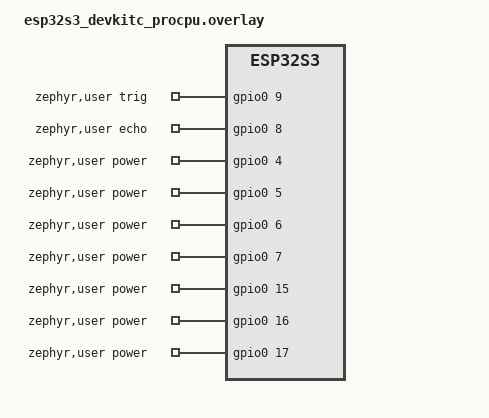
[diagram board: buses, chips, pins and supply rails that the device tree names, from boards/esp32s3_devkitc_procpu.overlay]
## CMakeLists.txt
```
# SPDX-License-Identifier: Apache-2.0

cmake_minimum_required(VERSION 3.20.0)

# Workaround: ESP32-Zephyr-Test wird als Zephyr-Modul erkannt.
# ZEPHYR_MODULES explizit setzen, Projektpfad herausfiltern.
get_filename_component(_project_root "${CMAKE_CURRENT_SOURCE_DIR}/.." ABSOLUTE)
execute_process(
  COMMAND west list -f "{abspath}"
  WORKING_DIRECTORY "${_project_root}"
  OUTPUT_VARIABLE _all_modules
  OUTPUT_STRIP_TRAILING_WHITESPACE
  ERROR_QUIET
)
string(REPLACE "\n" ";" _modules_list "${_all_modules}")
list(REMOVE_ITEM _modules_list "${_project_root}")
set(ZEPHYR_MODULES ${_modules_list} CACHE STRING "Zephyr module paths" FORCE)

find_package(Zephyr REQUIRED HINTS $ENV{ZEPHYR_BASE})
project(bthome_ranging)

# BThome V2 Bibliothek (aus workspace-root/lib/)
add_subdirectory(
  ${CMAKE_CURRENT_SOURCE_DIR}/../lib/bthome_v2
  ${CMAKE_CURRENT_BINARY_DIR}/bthome_v2
)

target_link_libraries(app PRIVATE bthome_v2)
target_sources(app PRIVATE src/main.c)
```

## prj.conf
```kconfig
# SPDX-License-Identifier: Apache-2.0
#
# 200-BThome-Ranging: HC-SR04 + BThome V2 BLE Advertising auf ESP32-S3

# ── Logging ────────────────────────────────────────────────────────────────
CONFIG_LOG=y

# ── GPIO ───────────────────────────────────────────────────────────────────
CONFIG_GPIO=y

# ── Power (sleep_cpu.c / sleep_modem.c fuer esp_deep_sleep_start) ──────────
# CONFIG_POWEROFF zieht die noetigen HAL-Quellen ein, ohne den PM-Idle-Hook
# zu aktivieren (der wuerde waehrend k_sem_take automatisch deep-sleep ausloesen).
CONFIG_POWEROFF=y

# ── Bluetooth / BThome V2 ──────────────────────────────────────────────────
CONFIG_BT=y
CONFIG_BT_PERIPHERAL=y
CONFIG_BT_DEVICE_NAME="ESP32-Ranging"

# Stack-Groessen
CONFIG_MAIN_STACK_SIZE=4096
CONFIG_BT_RX_STACK_SIZE=2048
CONFIG_SYSTEM_WORKQUEUE_STACK_SIZE=2048
```

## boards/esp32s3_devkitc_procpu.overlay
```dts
/*
 * Board-Overlay fuer ESP32-S3-DevKitC (procpu)
 * Projekt: 200-BThome-Ranging
 *
 * HC-SR04: TRIG -> GPIO9, ECHO -> GPIO8
 * Power-Gate: GPIOs 4,5,6,7,15,16,17 parallel (~280 mA Kapazitaet)
 *
 * SPDX-License-Identifier: Apache-2.0
 */

/ {
	zephyr,user {
		trig-gpios  = <&gpio0 9 GPIO_ACTIVE_HIGH>;
		echo-gpios  = <&gpio0 8 GPIO_ACTIVE_HIGH>;
		power-gpios = <&gpio0  4 GPIO_ACTIVE_HIGH>,
			      <&gpio0  5 GPIO_ACTIVE_HIGH>,
			      <&gpio0  6 GPIO_ACTIVE_HIGH>,
			      <&gpio0  7 GPIO_ACTIVE_HIGH>,
			      <&gpio0 15 GPIO_ACTIVE_HIGH>,
			      <&gpio0 16 GPIO_ACTIVE_HIGH>,
			      <&gpio0 17 GPIO_ACTIVE_HIGH>;
	};
};
```

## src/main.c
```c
/*
 * 200-BThome-Ranging — HC-SR04 + BThome V2 BLE Advertising
 *
 * ===================================================================
 * Ablauf pro Messzyklus (nach Deep-Sleep-Wakeup oder erstem Start):
 *
 *   1. GPIO-Init: TRIG, ECHO, Power-Gate-Pins
 *   2. Sensor einschalten (Power-Gate HIGH)
 *   3. Bluetooth aktivieren (bt_enable, ~400-600 ms)
 *   4. Sensor-Startverzoegerung abwarten (Gesamt >= SENSOR_STARTUP_MS)
 *   5. HC-SR04 messen (TRIG 10 us, auf ECHO warten, Distanz berechnen)
 *   6. Sensor ausschalten (Power-Gate LOW + gpio_hold_en)
 *   7. BThome-Paket aufbauen (Packet-ID + Distanz in mm)
 *   8. BLE Non-Connectable Advertising starten (ADV_DURATION_MS)
 *   9. Advertising stoppen, bt_disable()
 *  10. Deep-Sleep fuer MEASURE_INTERVAL_MS (RTC-Timer-Wakeup)
 *
 * Power-Strategie:
 *   - HC-SR04 waehrend Sleep abgeschaltet (Power-Gate LOW + Hold)
 *   - TRIG-Pin ebenfalls LOW + Hold (verhindert float HIGH)
 *   - BLE waehrend Sleep abgeschaltet (bt_disable vor deep sleep)
 *   - RTC-Offset akkumuliert Gesamtzeit fuer kontinuierlichen Timestamp
 *
 * BThome Payload pro Paket:
 *   0x00  Packet-ID  (uint8,  inkrementierend)
 *   0x40  Distance   (uint16, mm, max 65535 mm)
 *
 * Verdrahtung (ESP32-S3-DevKitC):
 *   HC-SR04 TRIG -> GPIO9
 *   HC-SR04 ECHO -> GPIO8  (ggf. 5V→3.3V Spannungsteiler)
 *   HC-SR04 VCC  -> Power-Gate (GPIOs 4,5,6,7,15,16,17 parallel)
 *   HC-SR04 GND  -> GND
 *
 * SPDX-License-Identifier: Apache-2.0
 */

#include <zephyr/kernel.h>
#include <zephyr/device.h>
#include <zephyr/drivers/gpio.h>
#include <zephyr/logging/log.h>
#include <zephyr/logging/log_ctrl.h>
#include <zephyr/bluetooth/bluetooth.h>
#include <zephyr/bluetooth/hci.h>
#include <esp_sleep.h>
#include <esp_attr.h>
#include <esp_mac.h>
#include <driver/gpio.h>
#include <bthome_v2/bthome_v2.h>

LOG_MODULE_REGISTER(bthome_ranging, LOG_LEVEL_INF);

/* ═══════════════════════════════════════════════════════════════════════════
 * Konfiguration
 * ═══════════════════════════════════════════════════════════════════════════ */

#define TRIG_PULSE_US        10U
#define ECHO_TIMEOUT_MS      35U
/** HC-SR04 Mindest-Startzeit nach Power-On */
#define SENSOR_STARTUP_MS    1000U
/** Dauer des BLE-Advertisings pro Messung */
#define ADV_DURATION_MS      1500U
/** Schlafzeit zwischen den Messungen */
//#define MEASURE_INTERVAL_MS  300000U
#define MEASURE_INTERVAL_MS  1000000U

#define US_TO_MM_NUM  10U
#define US_TO_MM_DEN  58U

/* ═══════════════════════════════════════════════════════════════════════════
 * Devicetree: GPIO-Specs
 * ═══════════════════════════════════════════════════════════════════════════ */

#define DT_USER DT_PATH(zephyr_user)

static const struct gpio_dt_spec trig = GPIO_DT_SPEC_GET(DT_USER, trig_gpios);
static const struct gpio_dt_spec echo = GPIO_DT_SPEC_GET(DT_USER, echo_gpios);

#define _PWR_PIN_INIT(node, prop, idx) GPIO_DT_SPEC_GET_BY_IDX(node, prop, idx),
static const struct gpio_dt_spec power_pins[] = {
	DT_FOREACH_PROP_ELEM(DT_USER, power_gpios, _PWR_PIN_INIT)
};
#define POWER_PIN_COUNT ARRAY_SIZE(power_pins)

/* ═══════════════════════════════════════════════════════════════════════════
 * ECHO-Messung
 * ═══════════════════════════════════════════════════════════════════════════ */

static K_SEM_DEFINE(echo_sem, 0, 1);
static volatile uint32_t echo_rise_cycles;
static volatile uint32_t echo_fall_cycles;
static volatile bool     echo_complete;
static struct gpio_callback echo_cb_data;

static void echo_isr(const struct device *dev, struct gpio_callback *cb,
		     uint32_t pins)
{
	ARG_UNUSED(dev);
	ARG_UNUSED(cb);
	ARG_UNUSED(pins);

	if (gpio_pin_get_dt(&echo)) {
		echo_rise_cycles = k_cycle_get_32();
		echo_complete    = false;
	} else {
		echo_fall_cycles = k_cycle_get_32();
		echo_complete    = true;
		k_sem_give(&echo_sem);
	}
}

/* ═══════════════════════════════════════════════════════════════════════════
 * RTC-Persistent-Timestamp (ueberlebt Deep-Sleep)
 * ═══════════════════════════════════════════════════════════════════════════ */

/* RTC_DATA_ATTR / RTC_NOINIT_ATTR sind in Zephyr 3.7 fuer ESP32-S3 leer
 * (CONFIG_SOC_RTC_*_MEM_SUPPORTED nicht gesetzt). Direkt auf die Section
 * ".rtc_noinit" abbilden, die im Linker-Script als NOLOAD in rtc_slow_seg
 * definiert ist und Deep-Sleep ueberlebt. Initialisierung erfolgt manuell
 * beim Erststart (s. main()). */
#define RTC_PERSIST  __attribute__((section(".rtc_noinit")))

RTC_PERSIST static uint32_t s_rtc_offset_ms;
RTC_PERSIST static uint8_t  s_pkt_id;

static log_timestamp_t persistent_ts(void)
{
	return (log_timestamp_t)(s_rtc_offset_ms + (uint32_t)k_uptime_get());
}

/* ═══════════════════════════════════════════════════════════════════════════
 * Power-Gate
 * ═══════════════════════════════════════════════════════════════════════════ */

static void sensor_power_on(void)
{
	for (int i = 0; i < POWER_PIN_COUNT; i++) {
		gpio_hold_dis(power_pins[i].pin);
		gpio_pin_set_dt(&power_pins[i], 1);
	}
}

static void sensor_power_off(void)
{
	for (int i = 0; i < POWER_PIN_COUNT; i++) {
		gpio_pin_set_dt(&power_pins[i], 0);
		gpio_hold_en(power_pins[i].pin);
	}
}

/* ═══════════════════════════════════════════════════════════════════════════
 * Distanzmessung
 * ═══════════════════════════════════════════════════════════════════════════ */

/**
 * Fuehrt eine HC-SR04-Messung durch.
 * Gibt die Distanz in mm zurueck, 0 bei Timeout (kein Echo / zu weit).
 */
static uint32_t measure_distance_mm(void)
{
	k_sem_reset(&echo_sem);
	echo_complete = false;

	gpio_pin_set_dt(&trig, 1);
	k_busy_wait(TRIG_PULSE_US);
	gpio_pin_set_dt(&trig, 0);

	int rc = k_sem_take(&echo_sem, K_MSEC(ECHO_TIMEOUT_MS));

	if (rc == -EAGAIN || !echo_complete) {
		LOG_WRN("Kein Echo (Objekt zu weit oder Sensor fehlt)");
		return 0U;
	}

	uint32_t cycles   = echo_fall_cycles - echo_rise_cycles;
	uint64_t pulse_us = (uint64_t)cycles * 1000000ULL
			    / sys_clock_hw_cycles_per_sec();
	uint32_t dist_mm  = (uint32_t)(pulse_us * US_TO_MM_NUM / US_TO_MM_DEN);

	LOG_INF("Distanz: %4u mm  [Echo: %llu us]", dist_mm, pulse_us);
	return dist_mm;
}

/* ═══════════════════════════════════════════════════════════════════════════
 * BThome V2 BLE Advertising
 * ═══════════════════════════════════════════════════════════════════════════ */

static struct bthome_v2_ctx bthome;

/**
 * Baut ein BThome-V2-Paket und sendet es ADV_DURATION_MS lang via
 * nicht-verbindungsfaehigem Legacy-BLE-Advertising.
 *
 * Payload:
 *   0x00  Packet-ID   (uint8)
 *   0x40  Distanz mm  (uint16)
 */
static void advertise_distance(uint32_t dist_mm)
{
	bthome_v2_clear(&bthome);
	bthome_v2_add_packet_id(&bthome, s_pkt_id);
	bthome_v2_add_distance_mm(&bthome, (uint16_t)dist_mm);
	bthome_v2_encode(&bthome);

	/* AD-Struktur: Flags + Name + BThome Service Data */
	struct bt_data ad[3] = {
		BT_DATA_BYTES(BT_DATA_FLAGS, BT_LE_AD_GENERAL | BT_LE_AD_NO_BREDR),
		BT_DATA(BT_DATA_NAME_COMPLETE,
			CONFIG_BT_DEVICE_NAME,
			sizeof(CONFIG_BT_DEVICE_NAME) - 1),
		{ 0 },  /* wird von bthome_v2_get_bt_data befuellt */
	};
	bthome_v2_get_bt_data(&bthome, &ad[2]);

	/* Nicht-verbindungsfaehiges, undirected Advertising (Legacy PDU) */
	/* BT_LE_ADV_OPT_USE_IDENTITY: erzwingt die eFuse-basierte Identity-Adresse
	 * im Advertising-PDU statt einer neu generierten Random-Adresse. */
	int ret = bt_le_adv_start(
		BT_LE_ADV_PARAM(BT_LE_ADV_OPT_USE_IDENTITY,
				BT_GAP_ADV_FAST_INT_MIN_2,
				BT_GAP_ADV_FAST_INT_MAX_2, NULL),
		ad, ARRAY_SIZE(ad), NULL, 0);

	if (ret) {
		LOG_ERR("bt_le_adv_start: %d", ret);
		return;
	}

	LOG_INF("BThome ADV: %u mm  pkt_id=%u  (%u ms)", dist_mm, s_pkt_id,
		ADV_DURATION_MS);

	k_msleep(ADV_DURATION_MS);
	bt_le_adv_stop();
}

/* ═══════════════════════════════════════════════════════════════════════════
 * main
 * ═══════════════════════════════════════════════════════════════════════════ */

int main(void)
{
	int ret;
	int64_t boot_time_ms;

	/* Persistenten Timestamp registrieren */
	log_set_timestamp_func(persistent_ts, 1000U);

	/* Wakeup-Ursache bestimmen */
	esp_sleep_wakeup_cause_t cause = esp_sleep_get_wakeup_cause();

	/* Beim echten Erststart (kein Timer-Wakeup) RTC-Variablen initialisieren. */
	if (cause != ESP_SLEEP_WAKEUP_TIMER) {
		s_rtc_offset_ms = 0;
		s_pkt_id        = 0;
	}

	/* Paket-ID sofort hochzaehlen — vor allen anderen Operationen, damit
	 * sie auch bei einem spaeter auftretendem Crash nicht verloren geht. */
	s_pkt_id++;

	/* ── GPIO initialisieren ─────────────────────────────────────────── */
	if (!gpio_is_ready_dt(&trig) || !gpio_is_ready_dt(&echo)) {
		LOG_ERR("GPIO nicht bereit");
		return -ENODEV;
	}

	gpio_pin_configure_dt(&trig, GPIO_OUTPUT_INACTIVE);
	gpio_hold_dis(trig.pin);
	gpio_pin_configure_dt(&echo, GPIO_INPUT);
	gpio_hold_dis(echo.pin);

	for (int i = 0; i < POWER_PIN_COUNT; i++) {
		if (!gpio_is_ready_dt(&power_pins[i])) {
			LOG_ERR("Power-GPIO %d nicht bereit", power_pins[i].pin);
			return -ENODEV;
		}
		gpio_pin_configure_dt(&power_pins[i], GPIO_OUTPUT_INACTIVE);
		gpio_hold_dis(power_pins[i].pin);
	}

	gpio_pin_interrupt_configure_dt(&echo, GPIO_INT_EDGE_BOTH);
	gpio_init_callback(&echo_cb_data, echo_isr, BIT(echo.pin));
	gpio_add_callback(echo.port, &echo_cb_data);

	/* ── Wakeup-Info ─────────────────────────────────────────────────── */
	if (cause == ESP_SLEEP_WAKEUP_TIMER) {
		LOG_INF("Wakeup: Timer  (Offset: %u ms)", s_rtc_offset_ms);
	} else {
		LOG_INF("Erster Start  (Power-on / Hard-Reset)");
	}

	/* ── Sensor einschalten + Bluetooth initialisieren ───────────────── *
	 * bt_enable() dauert ~400-600 ms → zaehlt zur Sensor-Startzeit.     */
	sensor_power_on();
	boot_time_ms = k_uptime_get();

	/* eFuse-MAC als feste BT-Identitaet setzen, damit die BLE-Adresse
	 * stabil bleibt (andernfalls generiert bt_enable() bei jedem Boot
	 * eine neue zufaellige Adresse). */
	{
		uint8_t mac[6];
		esp_read_mac(mac, ESP_MAC_BT);
		bt_addr_le_t fixed_addr = {
			.type  = BT_ADDR_LE_RANDOM,
			/* ESP-MAC Big-Endian → BT-Adresse Little-Endian */
			.a.val = { mac[5], mac[4], mac[3], mac[2], mac[1], mac[0] },
		};
		/* Bit 7+6 des MSB auf 11 setzen = Static Random Address (BT-Spec) */
		fixed_addr.a.val[5] |= 0xC0;
		int id_ret = bt_id_create(&fixed_addr, NULL);

		if (id_ret < 0) {
			LOG_ERR("bt_id_create fehlgeschlagen: %d — Adresse nicht stabil!", id_ret);
		} else {
			LOG_INF("BT-ID %d: %02X:%02X:%02X:%02X:%02X:%02X", id_ret,
				fixed_addr.a.val[5], fixed_addr.a.val[4],
				fixed_addr.a.val[3], fixed_addr.a.val[2],
				fixed_addr.a.val[1], fixed_addr.a.val[0]);
		}
	}

	bthome_v2_init(&bthome, false, false);

	ret = bt_enable(NULL);
	if (ret) {
		LOG_ERR("bt_enable: %d", ret);
		return ret;
	}
	LOG_INF("Bluetooth bereit");

	/* Verbleibende Sensor-Startzeit abwarten */
	int64_t elapsed_ms = k_uptime_get() - boot_time_ms;
	int32_t remaining_ms = (int32_t)SENSOR_STARTUP_MS - (int32_t)elapsed_ms;

	if (remaining_ms > 0) {
		LOG_INF("Sensor-Startzeit: noch %d ms...", remaining_ms);
		k_msleep((uint32_t)remaining_ms);
	}

	/* ── Messen ──────────────────────────────────────────────────────── */
	uint32_t dist_mm = measure_distance_mm();

	/* ── Sensor ausschalten ──────────────────────────────────────────── */
	sensor_power_off();

	/* ── BThome-Paket senden ─────────────────────────────────────────── */
	advertise_distance(dist_mm);

	/* ── Bluetooth deaktivieren ──────────────────────────────────────── */
	bt_disable();

	/* ── Zeitversatz akkumulieren + Deep-Sleep ───────────────────────── */
	s_rtc_offset_ms += (uint32_t)k_uptime_get() + MEASURE_INTERVAL_MS;

	LOG_INF("Deep-Sleep fuer %d s  (naechste Messung bei %u s Offset)",
		MEASURE_INTERVAL_MS / 1000, s_rtc_offset_ms / 1000);

	/* TRIG LOW einfrieren */
	gpio_pin_set_dt(&trig, 0);
	gpio_hold_en(trig.pin);

	/* ECHO-Pin als Output LOW einfrieren (war Input — floatendes Signal
	 * bei ausgeschaltetem Sensor verursacht Leakage-Strom) */
	gpio_pin_configure_dt(&echo, GPIO_OUTPUT_INACTIVE);
	gpio_hold_en(echo.pin);

	log_panic();
	k_busy_wait(50000U);

	esp_sleep_enable_timer_wakeup((uint64_t)MEASURE_INTERVAL_MS * 1000ULL);
	esp_deep_sleep_start(); /* kehrt nicht zurueck */

	return 0;
}
```
